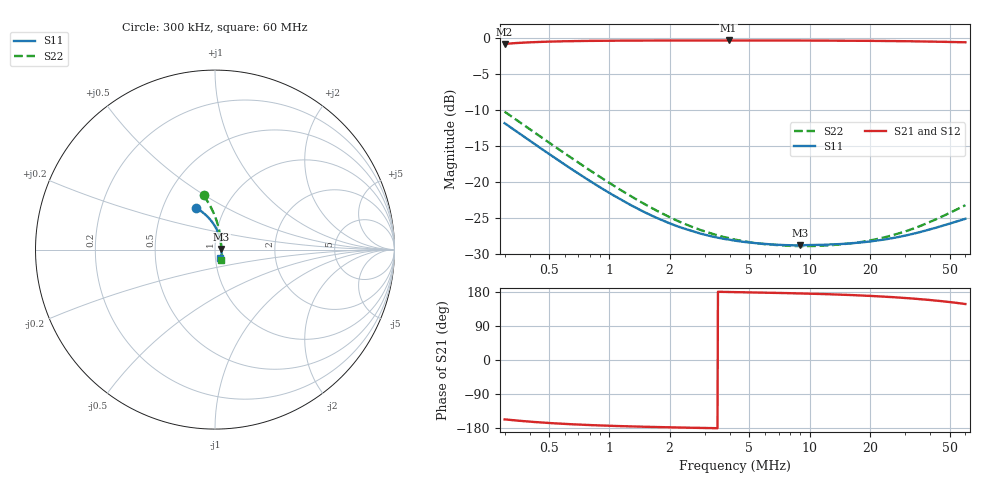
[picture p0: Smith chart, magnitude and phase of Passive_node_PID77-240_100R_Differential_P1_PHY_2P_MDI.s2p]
! TOUCHSTONE file generated by CST DESIGN STUDIO
! Date and time: Tue May 12 12:12:09 2026
! Project name: C:\sim_local\10base-t1m\passive_node_simulations_nostub.cst
! Tree item: Tasks\SPara1\S-Parameters
! Header version: 2024
! Port assignment regex: !\s*Touchstone port\s*([0-9]+)\s*=\s*(CST MWS port|CST DES external port|CST DES block port)\s*(.+)\s* \(\"(.*)\"\)(\s*mode\s*([0-9]+))?.*
! Touchstone port assignment:
! Touchstone port 1 = CST DES external port 1 ("PHY")
! Touchstone port 2 = CST DES external port 2 ("MDI")
# MHz S MA R 100
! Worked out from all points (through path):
!   1001 points, 300 kHz to 60 MHz, reference 100 ohm
!   highest |S21| = -0.31 dB at 3.939 MHz (marker M1); lowest = -0.8 dB at 300 kHz (marker M2)
!   lowest |S11| = -28.9 dB at 9.003 MHz (marker M3), VSWR 1.07, Z = 107 + j0.724 ohm
!   |S11| at or under -10 dB: start of sweep to end of sweep
!   |S22| runs from -29.0 to -10.2 dB; largest |S21 - S12| = 0.00039
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0.3  0.2562 114.7  0.9139 -156.6  0.9139 -156.6  0.3081 101.9
0.3669107  0.2106 106.9  0.9312 -161.0  0.9313 -161.0  0.2533 97.1
0.4440148  0.1752 100.2  0.9423 -164.4  0.9422 -164.4  0.2105 92.9
0.5695684  0.1383 92.1  0.9515 -168.0  0.9515 -168.0  0.1656 87.5
0.7267638  0.1105 84.5  0.9571 -170.8  0.957 -170.8  0.1315 82.2
1.164622  0.07409 69.4  0.9624 -174.7  0.9623 -174.7  0.08611 70.9
1.760619  0.05544 55.3  0.9644 -177.1  0.9643 -177.1  0.06208 59.1
2.187799  0.04904 47.5  0.9648 -178.1  0.9648 -178.1  0.05362 52.2
2.647553  0.04494 40.8  0.965 -178.9  0.9649 -178.9  0.04808 45.8
3.238051  0.04179 34.0  0.9651 -179.7  0.9651 -179.7  0.04367 38.9
3.939325  0.0397 27.7  0.9652 179.5  0.9651 179.5  0.0406 32.2
4.242641  0.03896 25.4  0.9651 179.2  0.965 179.2  0.03964 29.8
6.050695  0.03693 15.3  0.9648 177.7  0.9646 177.7  0.03673 18.6
9.002902  0.03607 5.4  0.9641 175.6  0.9638 175.6  0.03567 7.2
10.27799  0.03633 1.2  0.9633 174.9  0.963 174.9  0.03576 2.4
13.11462  0.03667 -4.9  0.9623 173.2  0.9619 173.2  0.03632 -4.5
16.82302  0.0375 -11.4  0.9606 171.0  0.9603 171.0  0.0376 -11.8
24.89891  0.04017 -23.1  0.9565 166.5  0.9562 166.5  0.04181 -24.5
31.60288  0.04291 -31.7  0.9529 162.8  0.9526 162.8  0.04626 -33.4
40.32497  0.04682 -41.9  0.9479 158.1  0.9477 158.1  0.0529 -43.5
49.05826  0.05075 -51.2  0.943 153.5  0.9428 153.5  0.05995 -52.2
60  0.05534 -61.5  0.9371 147.7  0.9368 147.7  0.06882 -61.5
